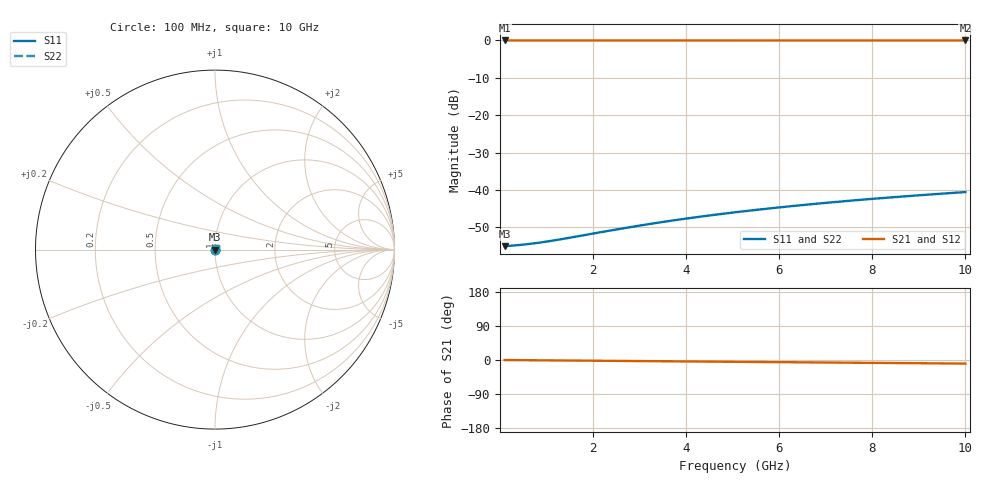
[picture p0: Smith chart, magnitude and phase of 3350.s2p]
# Hz S RI R 50.00
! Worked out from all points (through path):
!   100 points, 100 MHz to 10 GHz, reference 50 ohm
!   highest |S21| = -0.02 dB at 100 MHz (marker M1); lowest = 0.0 dB at 10 GHz (marker M2)
!   group delay of S21, straight-line fit = 2.63 ps
!   lowest |S11| = -55.0 dB at 100 MHz (marker M3), VSWR 1.00, Z = 50.2 + j0.00902 ohm
!   |S11| at or under -10 dB: start of sweep to end of sweep
!   |S22| runs from -55.0 to -40.5 dB; largest |S21 - S12| = 1e-12
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1e8  0.00178 8.99e-05  0.9982 -0.00164  0.9982 -0.00164  0.00178 8.99e-05
3e8  0.0018 0.00027  0.9982 -0.00493  0.9982 -0.00493  0.0018 0.00027
5e8  0.00181 0.000449  0.9982 -0.00822  0.9982 -0.00822  0.00181 0.000449
8e8  0.00183 0.000718  0.9981 -0.0132  0.9981 -0.0132  0.00183 0.000718
1e9  0.00184 0.000898  0.998 -0.0164  0.998 -0.0164  0.00184 0.000898
1.2e9  0.00185 0.00108  0.998 -0.0197  0.998 -0.0197  0.00185 0.00108
1.8e9  0.00189 0.00161  0.9977 -0.0296  0.9977 -0.0296  0.00189 0.00161
2.3e9  0.00193 0.00206  0.9974 -0.0378  0.9974 -0.0378  0.00193 0.00206
2.7e9  0.00197 0.00242  0.9971 -0.0444  0.9971 -0.0444  0.00197 0.00242
3.1e9  0.00201 0.00277  0.9968 -0.051  0.9968 -0.051  0.00201 0.00277
3.4e9  0.00204 0.00304  0.9965 -0.0559  0.9965 -0.0559  0.00204 0.00304
3.8e9  0.00209 0.00339  0.9961 -0.0625  0.9961 -0.0625  0.00209 0.00339
4.2e9  0.00215 0.00375  0.9957 -0.069  0.9957 -0.069  0.00215 0.00375
4.6e9  0.0022 0.0041  0.9952 -0.0756  0.9952 -0.0756  0.0022 0.0041
5.1e9  0.00228 0.00454  0.9945 -0.0838  0.9945 -0.0838  0.00228 0.00454
5.5e9  0.00235 0.00489  0.9939 -0.0904  0.9939 -0.0904  0.00235 0.00489
5.9e9  0.00242 0.00524  0.9933 -0.0969  0.9933 -0.0969  0.00242 0.00524
6.7e9  0.00258 0.00594  0.9919 -0.11  0.9919 -0.11  0.00258 0.00594
7.5e9  0.00276 0.00663  0.9903 -0.1231  0.9903 -0.1231  0.00276 0.00663
8.4e9  0.00298 0.0074  0.9884 -0.1378  0.9884 -0.1378  0.00298 0.0074
9.2e9  0.00319 0.00808  0.9864 -0.1509  0.9864 -0.1509  0.00319 0.00808
1e10  0.00343 0.00875  0.9843 -0.1639  0.9843 -0.1639  0.00343 0.00875
